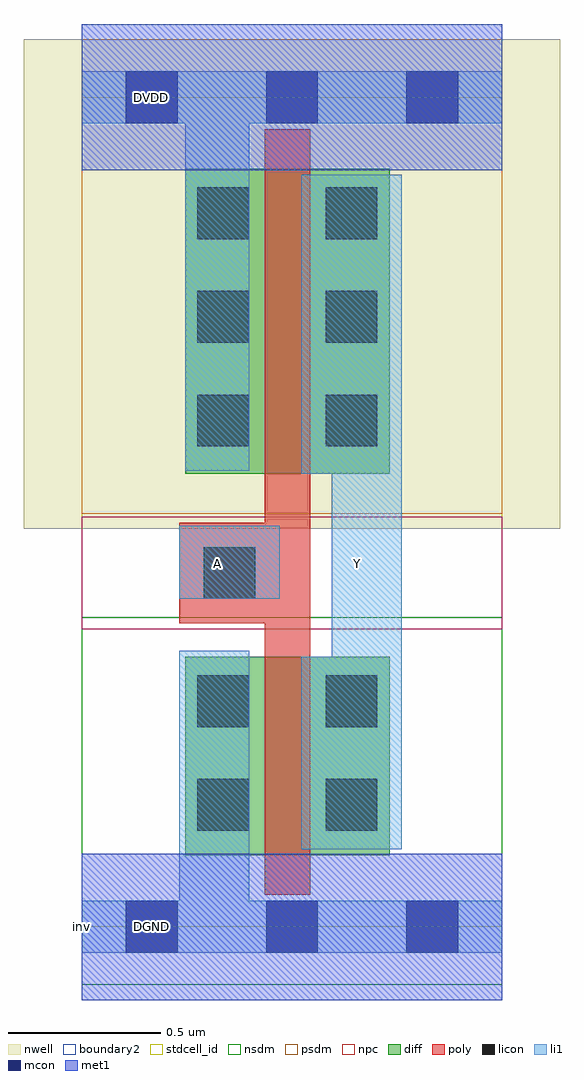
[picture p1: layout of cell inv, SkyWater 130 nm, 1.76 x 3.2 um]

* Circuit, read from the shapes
.subckt inv A DGND DVDD Y
XM1 Y A DGND VSUBS sky130_fd_pr__nfet_01v8 w=0.65 l=0.15
XM2 Y A DVDD n1 sky130_fd_pr__pfet_01v8 w=1 l=0.15
.ends

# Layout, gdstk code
import gdstk
lib = gdstk.Library(unit=1e-6, precision=1e-09)
def R(c, l, rs):  # rectangles x0, y0, x1, y1
    for r in rs: c.add(gdstk.rectangle(r[:2], r[2:], *l))
def A(c, l, x, y, w, h, nx, ny, dx, dy):  # array of equal rectangles
    R(c, l, [(x+i*dx, y+j*dy, x+i*dx+w, y+j*dy+h) for i in range(nx) for j in range(ny)])
def P(c, l, *ps):  # polygons
    for p in ps: c.add(gdstk.Polygon(p, *l))
nwell = (64, 20)
diff = (65, 20)
poly = (66, 20)
licon = (66, 44)
li1 = (67, 20)
mcon = (67, 44)
met1 = (68, 20)
stdcell_id = (81, 4)
nsdm = (93, 44)
psdm = (94, 20)
npc = (95, 20)
boundary2 = (236, 0)

inv = lib.new_cell('inv')
R(inv, nwell, [(-0.19,1.305,1.57,2.91)])
R(inv, diff, [(0.34,0.235,1.01,0.885), (0.34,1.485,1.01,2.485)])
P(inv, poly, [(0.6,0.105),(0.6,0.995),(0.32,0.995),(0.32,1.325),(0.6,1.325),(0.6,2.615),(0.75,2.615),(0.75,0.105)])
A(inv, licon, 0.38, 1.575, 0.17, 0.17, 1, 3, 0, 0.34)
A(inv, licon, 0.8, 1.575, 0.17, 0.17, 1, 3, 0, 0.34)
R(inv, licon, [(0.38,0.315,0.55,0.485), (0.8,0.315,0.97,0.485), (0.38,0.655,0.55,0.825), (0.8,0.655,0.97,0.825), (0.4,1.075,0.57,1.245)])
R(inv, li1, [(0,-0.085,1.38,0.085), (0.32,0.005,0.55,0.905), (0.32,1.075,0.65,1.315), (0.34,1.495,0.55,2.675), (0,2.635,1.38,2.805)])
P(inv, li1, [(0.72,0.255),(0.72,0.885),(0.82,0.885),(0.82,1.485),(0.72,1.485),(0.72,2.465),(1.05,2.465),(1.05,0.255)])
A(inv, mcon, 0.145, -0.085, 0.17, 0.17, 3, 2, 0.46, 2.72)
R(inv, stdcell_id, [(0,0,1.38,2.72)])
R(inv, nsdm, [(0,-0.19,1.38,1.015)])
R(inv, psdm, [(0,1.355,1.38,2.91)])
R(inv, npc, [(0,0.975,1.38,1.345)])
R(inv, boundary2, [(0,0,1.38,2.72)])
inv.add(gdstk.FlexPath([(0,2.72),(1.38,2.72)], 0.48, ends="flush", simple_path=True, layer=68, datatype=20))  # met1
inv.add(gdstk.FlexPath([(0,0),(1.38,0)], 0.48, ends="flush", simple_path=True, layer=68, datatype=20))  # met1
inv.add(gdstk.Label('inv', (0,0), layer=83, texttype=44))
inv.add(gdstk.Label('DVDD', (0.23,2.72), layer=68, texttype=5))
inv.add(gdstk.Label('DGND', (0.23,0), layer=68, texttype=5))
inv.add(gdstk.Label('Y', (0.905,1.19), layer=67, texttype=5))
inv.add(gdstk.Label('A', (0.445,1.19), layer=67, texttype=5))

lib.write_gds('inv.gds')
